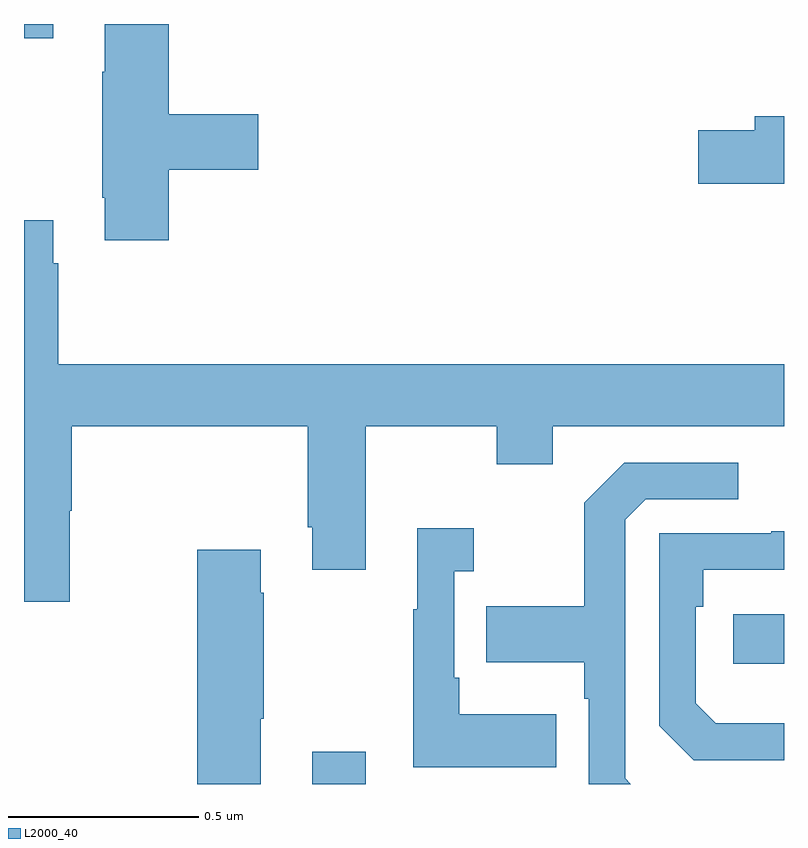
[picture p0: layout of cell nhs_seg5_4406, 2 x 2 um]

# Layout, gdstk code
import gdstk
lib = gdstk.Library(unit=1e-6, precision=1e-09)
def R(c, l, rs):  # rectangles x0, y0, x1, y1
    for r in rs: c.add(gdstk.rectangle(r[:2], r[2:], *l))
def P(c, l, *ps):  # polygons
    for p in ps: c.add(gdstk.Polygon(p, *l))
L2000_40 = (2000, 40)

nhs_seg5_4406 = lib.new_cell('nhs_seg5_4406')
R(nhs_seg5_4406, L2000_40, [(170.759,875.799,170.899,875.884), (171.867,876.116,172,876.246), (170,877.761,170.077,877.799)])
P(nhs_seg5_4406, L2000_40, [(170.381,877.415),(170.617,877.415),(170.617,877.562),(170.381,877.562),(170.381,877.799),(170.213,877.799),(170.213,877.673),(170.206,877.673),(170.206,877.342),(170.213,877.342),(170.213,877.23),(170.381,877.23)],
  [(172,877.556),(171.923,877.556),(171.923,877.52),(171.774,877.52),(171.774,877.378),(172,877.378)],
  [(170.121,876.518),(170.126,876.518),(170.126,876.74),(170.747,876.74),(170.747,876.475),(170.759,876.475),(170.759,876.363),(170.899,876.363),(170.899,876.74),(171.244,876.74),(171.244,876.641),(171.391,876.641),(171.391,876.74),(172,876.74),(172,876.904),(170.09,876.904),(170.09,877.169),(170.077,877.169),(170.077,877.282),(170,877.282),(170,876.279),(170.121,876.279)],
  [(171.582,875.814),(171.582,876.495),(171.636,876.549),(171.88,876.549),(171.88,876.645),(171.579,876.645),(171.474,876.539),(171.474,876.267),(171.217,876.267),(171.217,876.119),(171.474,876.119),(171.474,876.023),(171.486,876.023),(171.486,875.799),(171.597,875.799)],
  [(171.401,875.983),(171.145,875.983),(171.145,876.079),(171.132,876.079),(171.132,876.359),(171.184,876.359),(171.184,876.472),(171.035,876.472),(171.035,876.259),(171.024,876.259),(171.024,875.843),(171.401,875.843)],
  [(172,875.959),(171.821,875.959),(171.768,876.012),(171.768,876.266),(171.788,876.266),(171.788,876.363),(172,876.363),(172,876.464),(171.967,876.464),(171.967,876.459),(171.672,876.459),(171.672,875.952),(171.762,875.862),(172,875.862)],
  [(170.623,875.971),(170.631,875.971),(170.631,876.302),(170.623,876.302),(170.623,876.415),(170.456,876.415),(170.456,875.799),(170.623,875.799)])

lib.write_gds('nhs_seg5_4406.gds')
